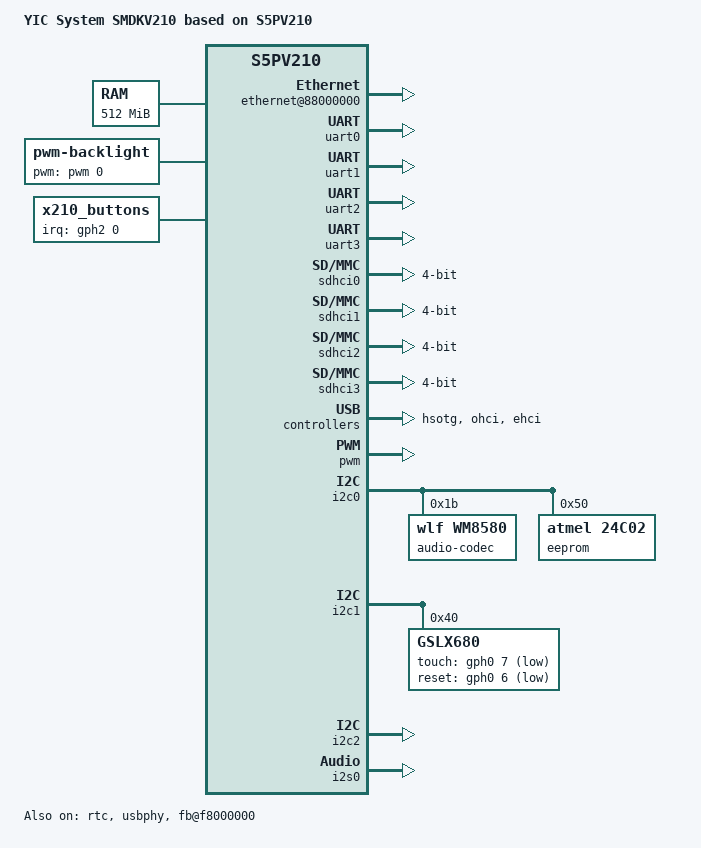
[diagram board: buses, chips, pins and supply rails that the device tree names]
// SPDX-License-Identifier: GPL-2.0
/*
 * Samsung's S5PV210 SoC device tree source
 *
 * Copyright (c) 2013-2014 Samsung Electronics, Co. Ltd.
 *
 * Mateusz Krawczuk <m.krawczuk@partner.samsung.com>
 * Tomasz Figa <t.figa@samsung.com>
 *
 * Board device tree source for YIC System SMDV210 board.
 *
 * NOTE: This file is completely based on original board file for mach-smdkv210
 * available in Linux 3.15 and intends to provide equivalent level of hardware
 * support. Due to lack of hardware, _no_ testing has been performed.
 */

/dts-v1/;
#include <dt-bindings/input/input.h>
#include "s5pv210.dtsi"

/ {
	model = "YIC System SMDKV210 based on S5PV210";
	compatible = "yic,smdkv210", "samsung,s5pv210";

	chosen {
		bootargs = "console=ttySAC2,115200n8 root=/dev/nfs rw nfsroot=192.168.0.101:/home/run/work/rootfs/rootfs_3.16.57  ip=192.168.0.20 init=/linuxrc user_debug=0x1f reboot=s  earlyprintk";
	};

	memory@30000000 {
		device_type = "memory";
		reg = <0x30000000 0x20000000>;
	};

	ethernet@88000000 {
        compatible = "davicom,dm9000";
        reg = <0x88000000 0x2 0x88000004 0x2>;
        interrupt-parent = <&gph1>;
        interrupts = <2 4>;
        local-mac-address = [00 00 de ad be ef];
        davicom,no-eeprom;
        clocks = <&clocks CLK_SROMC>;
        clock-names = "sromc";
    };  
	backlight {
		compatible = "pwm-backlight";
		pwms = <&pwm 0 5000000 0>;
		brightness-levels = <0 4 8 16 32 64 128 255>;
		default-brightness-level = <6>;
		pinctrl-names = "default";
		pinctrl-0 = <&pwm3_out>;
	};

	buttons {
		compatible = "x210_buttons";
	/*	interrupts-extended = <&gph2 0 3>, <&gph2 1 3>, <&gph2 2 3>, <&gph2 3 3>; */
		interrupt-parent = <&gph2>; 
        interrupts = <0 3>;
		eint-pin = <&gph2 0 0>;
	};


	fb@f8000000 {
		compatible = "samsung,s5pv210-fb";
		interrupt-parent = <&vic2>;
		reg = <0xf8000000 0x20000>;
		interrupt-names =  "fifo", "vsync", "lcd_sys";
		interrupts = <0>, <1>, <2>;
		clocks = <&clocks SCLK_FIMD>, <&clocks CLK_FIMD>;
		clock-names = "sclk_fimd", "fimd";
		status = "okay";
		pinctrl-0 = <&lcd_data24 &lcd_clk  &lcd_sys_oe >;	
		/* pinctrl-0 = <&lcd_data24 &lcd_clk &lcd_ctrl &lcd_sys_oe >;	 */
		pinctrl-names = "default";

		/* 1024x600@60Hz */
		clock-frequency = <52106200>;
		xres = /bits/ 16 <1024>;
		yres = /bits/ 16 <600>;
		max_bpp = /bits/ 16 <32>;
		default_bpp = /bits/ 16 <24>;
		right_margin = <160>;
		left_margin = <140>;
		hsync-len = <20>;
		upper_margin = <20>;
		lower_margin = <12>;
		vsync-len = <3>;
		hsync-active = <1>;
		vsync-active = <1>;
		de-active = <0>;
		pixelclk-active = <1>;
		vidout = <0>;
		pnrmode = <0>;

	};  




};

&xusbxti {
	clock-frequency = <24000000>;
};
/*
&keypad {
	linux,input-no-autorepeat;
	wakeup-source;
	samsung,keypad-num-rows = <8>;
	samsung,keypad-num-columns = <8>;
	pinctrl-names = "default";
	pinctrl-0 = <&keypad_row0>, <&keypad_row1>, <&keypad_row2>,
			<&keypad_row3>, <&keypad_row4>, <&keypad_row5>,
			<&keypad_row6>, <&keypad_row7>,
			<&keypad_col0>, <&keypad_col1>, <&keypad_col2>,
			<&keypad_col3>, <&keypad_col4>, <&keypad_col5>,
			<&keypad_col6>, <&keypad_col7>;
	status = "okay";

	key_1 {
		keypad,row = <0>;
		keypad,column = <3>;
		linux,code = <KEY_1>;
	};

	key_2 {
		keypad,row = <0>;
		keypad,column = <4>;
		linux,code = <KEY_2>;
	};

	key_3 {
		keypad,row = <0>;
		keypad,column = <5>;
		linux,code = <KEY_3>;
	};

	key_4 {
		keypad,row = <0>;
		keypad,column = <6>;
		linux,code = <KEY_4>;
	};

	key_5 {
		keypad,row = <0
		>;
		keypad,column = <7>;
		linux,code = <KEY_5>;
	};

	key_6 {
		keypad,row = <1>;
		keypad,column = <3>;
		linux,code = <KEY_A>;
	};
	key_7 {
		keypad,row = <1>;
		keypad,column = <4>;
		linux,code = <KEY_B>;
	};

	key_8 {
		keypad,row = <1>;
		keypad,column = <5>;
		linux,code = <KEY_C>;
	};

	key_9 {
		keypad,row = <1>;
		keypad,column = <6>;
		linux,code = <KEY_D>;
	};

	key_10 {
		keypad,row = <1>;
		keypad,column = <7>;
		linux,code = <KEY_E>;
	};
};
*/
&uart0 {
	status = "okay";
};

&uart1 {
	status = "okay";
};

&uart2 {
	status = "okay";
};

&uart3 {
	status = "okay";
};

&rtc {
	status = "okay";
};

&sdhci0 {
	bus-width = <4>;
	pinctrl-0 = <&sd0_clk &sd0_cmd &sd0_cd &sd0_bus1 &sd0_bus4>;
	pinctrl-names = "default";
	status = "okay";
};

&sdhci1 {
	bus-width = <4>;
	pinctrl-0 = <&sd1_clk &sd1_cmd &sd1_cd &sd1_bus1 &sd1_bus4>;
	pinctrl-names = "default";
	status = "okay";
};

&sdhci2 {
	bus-width = <4>;
	pinctrl-0 = <&sd2_clk &sd2_cmd &sd2_cd &sd2_bus1 &sd2_bus4>;
	pinctrl-names = "default";
	status = "okay";
};

&sdhci3 {
	bus-width = <4>;
	pinctrl-0 = <&sd3_clk &sd3_cmd &sd3_cd &sd3_bus1 &sd3_bus4>;
	pinctrl-names = "default";
	status = "okay";
};

&hsotg {
	status = "okay";
};

&usbphy {
	status = "okay";
};

&ohci {
	status = "okay";
};

&ehci {
	status = "okay";
};
/*
&fimd {
	pinctrl-0 = <&lcd_clk &lcd_data24>; 
	pinctrl-names = "default"; 
	status = "okay";

	display-timings {
		native-mode = <&timing0>;

		timing0: timing {
			clock-frequency = <52106200>;
			hactive = <1024>;
			vactive = <600>;
			hfront-porch = <160>;
			hback-porch = <140>;
			hsync-len = <20>;
			vback-porch = <20>;
			vfront-porch = <12>;
			vsync-len = <3>;
			hsync-active = <1>;
			vsync-active = <1>;
			de-active = <0>;
			pixelclk-active = <1>;
		};
	};
};
*/

&pwm {
	pinctrl-0 = <&pwm0_out &pwm3_out>;
	pinctrl-names = "default";
	samsung,pwm-outputs = <0>,< 3>;
	status = "okay";
};


&i2c0 {
	status = "okay";

	audio-codec@1b {
		compatible = "wlf,wm8580";
		reg = <0x1b>;
	};
	eeprom@50 {
		compatible = "atmel,24c02";
		reg = <0x50>;
	};
};

&i2c1 {
	status = "okay";

	gslX680@40 {
		compatible = "GSLX680";
		reg = <0x40>;
		screen_max_x = <1024>;
		screen_max_y = <600>;
/*		interrupt-parent = <&gph0>;
		interrupts = <7 1>;		*//* gph0的中断7,上升沿触发 */
		touch-gpio = <&gph0 7 1>;
		reset-gpio = <&gph0 6 1>; /* gph0的6口,默认高电平,低电平睡眠 */
	};
};

&i2c2 {
	status = "okay";
};




&i2s0 {
	status = "okay";
};
